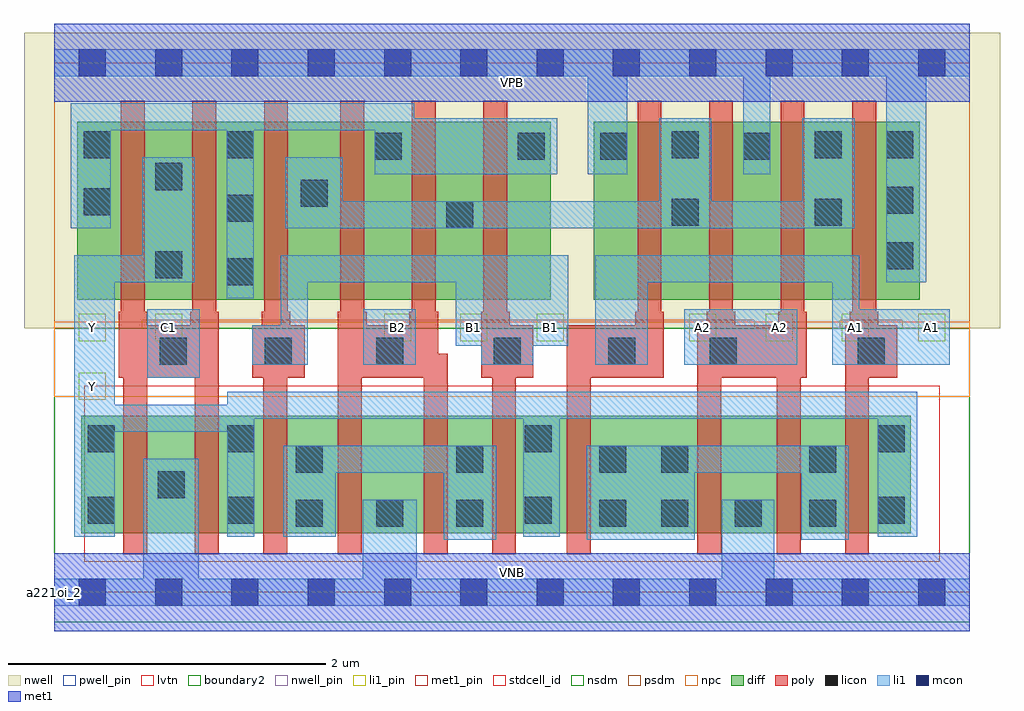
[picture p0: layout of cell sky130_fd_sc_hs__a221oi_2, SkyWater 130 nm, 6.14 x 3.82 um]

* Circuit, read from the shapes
.subckt sky130_fd_sc_hs__a221oi_2 A1 A2 B1 B2 C1 VGND VNB VPB VPWR Y
XM1 VGND C1 Y VNB sky130_fd_pr__nfet_01v8_lvt w=0.74 l=0.15 m=2
XM2 n1 B1 Y VNB sky130_fd_pr__nfet_01v8_lvt w=0.74 l=0.15 m=2
XM3 VGND B2 n1 VNB sky130_fd_pr__nfet_01v8_lvt w=0.74 l=0.15 m=2
XM4 n2 A1 Y VNB sky130_fd_pr__nfet_01v8_lvt w=0.74 l=0.15 m=2
XM5 VGND A2 n2 VNB sky130_fd_pr__nfet_01v8_lvt w=0.74 l=0.15 m=2
XM6 Y C1 n3 VPB sky130_fd_pr__pfet_01v8 w=1.12 l=0.15 m=2
XM7 n4 B1 n3 VPB sky130_fd_pr__pfet_01v8 w=1.12 l=0.15 m=2
XM8 n3 B2 n4 VPB sky130_fd_pr__pfet_01v8 w=1.12 l=0.15 m=2
XM9 n4 A1 VPWR VPB sky130_fd_pr__pfet_01v8 w=1.12 l=0.15 m=2
XM10 VPWR A2 n4 VPB sky130_fd_pr__pfet_01v8 w=1.12 l=0.15 m=2
.ends

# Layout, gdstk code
import gdstk
lib = gdstk.Library(unit=1e-6, precision=1e-09)
def R(c, l, rs):  # rectangles x0, y0, x1, y1
    for r in rs: c.add(gdstk.rectangle(r[:2], r[2:], *l))
def A(c, l, x, y, w, h, nx, ny, dx, dy):  # array of equal rectangles
    R(c, l, [(x+i*dx, y+j*dy, x+i*dx+w, y+j*dy+h) for i in range(nx) for j in range(ny)])
def P(c, l, *ps):  # polygons
    for p in ps: c.add(gdstk.Polygon(p, *l))
nwell_pin = (64, 16)
nwell = (64, 20)
diff = (65, 20)
poly = (66, 20)
licon = (66, 44)
li1_pin = (67, 16)
li1 = (67, 20)
mcon = (67, 44)
met1_pin = (68, 16)
met1 = (68, 20)
stdcell_id = (81, 4)
nsdm = (93, 44)
psdm = (94, 20)
npc = (95, 20)
pwell_pin = (122, 16)
lvtn = (125, 44)
boundary2 = (236, 0)

sky130_fd_sc_hs__a221oi_ = lib.new_cell('sky130_fd_sc_hs__a221oi_2')
R(sky130_fd_sc_hs__a221oi_, nwell_pin, [(0,3.085,5.76,3.33)])
R(sky130_fd_sc_hs__a221oi_, nwell, [(-0.19,1.66,5.95,3.52)])
R(sky130_fd_sc_hs__a221oi_, diff, [(0.17,0.37,5.39,1.11), (0.145,1.84,3.125,2.96), (3.395,1.84,5.445,2.96)])
P(sky130_fd_sc_hs__a221oi_, poly, [(5.305,1.68),(5.185,1.68),(5.185,1.765),(5.17,1.765),(5.17,3.09),(5.02,3.09),(5.02,1.765),(5.005,1.765),(5.005,1.68),(4.975,1.68),(4.975,0.24),(5.125,0.24),(5.125,1.35),(5.305,1.35)],
  [(4.735,1.765),(4.72,1.765),(4.72,3.09),(4.57,3.09),(4.57,1.765),(4.555,1.765),(4.555,1.68),(4.285,1.68),(4.285,1.765),(4.27,1.765),(4.27,3.09),(4.12,3.09),(4.12,1.765),(4.105,1.765),(4.105,1.68),(4.045,1.68),(4.045,0.24),(4.195,0.24),(4.195,1.35),(4.545,1.35),(4.545,0.24),(4.695,0.24),(4.695,1.35),(4.735,1.35)],
  [(3.835,1.765),(3.82,1.765),(3.82,3.09),(3.67,3.09),(3.67,1.765),(3.655,1.765),(3.655,1.68),(3.225,1.68),(3.225,0.24),(3.375,0.24),(3.375,1.35),(3.835,1.35)],
  [(3.015,1.68),(2.865,1.68),(2.865,1.765),(2.85,1.765),(2.85,3.09),(2.7,3.09),(2.7,1.765),(2.685,1.765),(2.685,1.35),(2.755,1.35),(2.755,0.24),(2.905,0.24),(2.905,1.35),(3.015,1.35)],
  [(2.475,1.5),(2.415,1.5),(2.415,1.765),(2.4,1.765),(2.4,3.09),(2.25,3.09),(2.25,1.765),(2.235,1.765),(2.235,1.68),(1.965,1.68),(1.965,1.765),(1.95,1.765),(1.95,3.09),(1.8,3.09),(1.8,1.765),(1.785,1.765),(1.785,0.24),(1.935,0.24),(1.935,1.35),(2.325,1.35),(2.325,0.24),(2.475,0.24)],
  [(1.575,1.68),(1.485,1.68),(1.485,1.765),(1.47,1.765),(1.47,3.09),(1.32,3.09),(1.32,1.765),(1.305,1.765),(1.305,1.68),(1.245,1.68),(1.245,1.35),(1.315,1.35),(1.315,0.24),(1.465,0.24),(1.465,1.35),(1.575,1.35)],
  [(1.035,1.765),(1.02,1.765),(1.02,3.09),(0.87,3.09),(0.87,1.765),(0.855,1.765),(0.855,1.68),(0.585,1.68),(0.585,1.765),(0.57,1.765),(0.57,3.09),(0.42,3.09),(0.42,1.765),(0.405,1.765),(0.405,1.35),(0.435,1.35),(0.435,0.24),(0.585,0.24),(0.585,1.35),(0.885,1.35),(0.885,0.24),(1.035,0.24)])
A(sky130_fd_sc_hs__a221oi_, licon, 1.52, 0.41, 0.17, 0.17, 3, 1, 0.505, 0)
A(sky130_fd_sc_hs__a221oi_, licon, 1.085, 1.93, 0.17, 0.17, 1, 3, 0, 0.4)
A(sky130_fd_sc_hs__a221oi_, licon, 5.235, 2.03, 0.17, 0.17, 1, 3, 0, 0.35)
R(sky130_fd_sc_hs__a221oi_, licon, [(3.43,0.41,3.6,0.58), (3.82,0.41,3.99,0.58), (4.28,0.41,4.45,0.58), (4.75,0.41,4.92,0.58), (0.21,0.43,0.38,0.6), (1.09,0.43,1.26,0.6), (2.96,0.43,3.13,0.6), (5.18,0.43,5.35,0.6), (0.65,0.59,0.82,0.76), (1.52,0.75,1.69,0.92), (2.53,0.75,2.7,0.92), (3.43,0.75,3.6,0.92), (3.82,0.75,3.99,0.92), (4.75,0.75,4.92,0.92), (0.21,0.88,0.38,1.05), (1.09,0.88,1.26,1.05), (2.96,0.88,3.13,1.05), (5.18,0.88,5.35,1.05), (0.665,1.43,0.835,1.6), (1.325,1.43,1.495,1.6), (2.025,1.43,2.195,1.6), (2.765,1.43,2.935,1.6), (3.485,1.43,3.655,1.6), (4.125,1.43,4.295,1.6), (5.055,1.43,5.225,1.6), (0.635,1.975,0.805,2.145), (2.465,2.29,2.635,2.46), (3.885,2.305,4.055,2.475), (4.785,2.305,4.955,2.475), (0.185,2.37,0.355,2.54), (1.55,2.425,1.72,2.595), (0.635,2.53,0.805,2.7), (2.015,2.72,2.185,2.89), (2.915,2.72,3.085,2.89), (3.435,2.72,3.605,2.89), (4.335,2.72,4.505,2.89), (0.185,2.73,0.355,2.9), (3.885,2.73,4.055,2.9), (4.785,2.73,4.955,2.9)])
A(sky130_fd_sc_hs__a221oi_, li1_pin, 2.075, 1.58, 0.17, 0.17, 3, 1, 0.48, 0)
A(sky130_fd_sc_hs__a221oi_, li1_pin, 3.995, 1.58, 0.17, 0.17, 4, 1, 0.48, 0)
R(sky130_fd_sc_hs__a221oi_, li1_pin, [(0.155,1.21,0.325,1.38), (0.155,1.58,0.325,1.75), (0.635,1.58,0.805,1.75)])
R(sky130_fd_sc_hs__a221oi_, li1, [(0.585,1.35,0.915,1.78), (1.945,1.43,2.275,1.78), (3.965,1.43,4.675,1.78)])
P(sky130_fd_sc_hs__a221oi_, li1, [(3.355,2.63),(3.355,3.245),(0,3.245),(0,3.415),(5.76,3.415),(5.76,3.245),(5.485,3.245),(5.485,1.95),(5.235,1.95),(5.235,3.245),(4.505,3.245),(4.505,2.63),(4.335,2.63),(4.335,3.245),(3.605,3.245),(3.605,2.63)],
  [(1.94,0.085),(1.94,0.58),(2.28,0.58),(2.28,0.085),(4.2,0.085),(4.2,0.58),(4.53,0.58),(4.53,0.085),(5.76,0.085),(5.76,-0.085),(0,-0.085),(0,0.085),(0.56,0.085),(0.56,0.84),(0.91,0.84),(0.91,0.085)],
  [(1.09,1.01),(0.38,1.01),(0.38,0.35),(0.125,0.35),(0.125,2.12),(0.555,2.12),(0.555,2.735),(0.885,2.735),(0.885,1.95),(0.38,1.95),(0.38,1.18),(1.09,1.18),(1.09,1.26),(5.43,1.26),(5.43,0.35),(5.18,0.35),(5.18,1.09),(3.18,1.09),(3.18,0.35),(2.95,0.35),(2.95,1.09),(1.26,1.09),(1.26,0.35),(1.09,0.35)],
  [(1.425,2.12),(3.235,2.12),(3.235,1.55),(3.015,1.55),(3.015,1.43),(2.685,1.43),(2.685,1.55),(2.525,1.55),(2.525,1.95),(1.595,1.95),(1.595,1.43),(1.245,1.43),(1.245,1.68),(1.425,1.68)],
  [(4.895,1.43),(4.895,1.95),(3.735,1.95),(3.735,1.43),(3.405,1.43),(3.405,2.12),(5.065,2.12),(5.065,1.78),(5.635,1.78),(5.635,1.43)],
  [(1.085,1.85),(1.085,2.905),(0.355,2.905),(0.355,2.29),(0.105,2.29),(0.105,3.075),(2.265,3.075),(2.265,2.98),(3.165,2.98),(3.165,2.63),(2.015,2.63),(2.015,2.905),(1.255,2.905),(1.255,1.85)],
  [(1.455,2.29),(1.455,2.735),(1.815,2.735),(1.815,2.46),(3.805,2.46),(3.805,2.98),(4.135,2.98),(4.135,2.46),(4.705,2.46),(4.705,2.98),(5.035,2.98),(5.035,2.29)],
  [(2.45,0.33),(2.45,0.75),(1.77,0.75),(1.77,0.35),(1.44,0.35),(1.44,0.92),(2.78,0.92),(2.78,0.33)],
  [(5,0.92),(3.35,0.92),(3.35,0.33),(4.03,0.33),(4.03,0.75),(4.7,0.75),(4.7,0.33),(5,0.33)])
A(sky130_fd_sc_hs__a221oi_, mcon, 0.155, -0.085, 0.17, 0.17, 12, 2, 0.48, 3.33)
R(sky130_fd_sc_hs__a221oi_, met1_pin, [(0,0,5.76,0.245), (0,3.085,5.76,3.33)])
R(sky130_fd_sc_hs__a221oi_, met1, [(0,-0.245,5.76,0.245), (0,3.085,5.76,3.575)])
R(sky130_fd_sc_hs__a221oi_, stdcell_id, [(0,0,5.76,3.33)])
R(sky130_fd_sc_hs__a221oi_, nsdm, [(0,-0.19,5.76,1.66)])
P(sky130_fd_sc_hs__a221oi_, psdm, [(5.76,3.52),(0,3.52),(0,1.66),(0.555,1.66),(0.555,1.71),(4.405,1.71),(4.405,1.66),(4.945,1.66),(4.945,1.71),(5.335,1.71),(5.335,1.66),(5.76,1.66)])
R(sky130_fd_sc_hs__a221oi_, npc, [(0,1.23,5.76,1.7)])
R(sky130_fd_sc_hs__a221oi_, pwell_pin, [(0,0,5.76,0.245)])
R(sky130_fd_sc_hs__a221oi_, lvtn, [(0.19,0.19,5.57,1.3)])
R(sky130_fd_sc_hs__a221oi_, boundary2, [(0,0,5.76,3.33)])
sky130_fd_sc_hs__a221oi_.add(gdstk.Label('a221oi_2', (0,0), layer=83, texttype=44))
sky130_fd_sc_hs__a221oi_.add(gdstk.Label('VNB', (2.88,0.123), layer=64, texttype=59))
sky130_fd_sc_hs__a221oi_.add(gdstk.Label('VPB', (2.88,3.208), layer=64, texttype=5))
sky130_fd_sc_hs__a221oi_.add(gdstk.Label('VPWR', (2.88,3.208), layer=68, texttype=5))
sky130_fd_sc_hs__a221oi_.add(gdstk.Label('VGND', (2.88,0.123), layer=68, texttype=5))
sky130_fd_sc_hs__a221oi_.add(gdstk.Label('Y', (0.24,1.295), layer=67, texttype=5))
sky130_fd_sc_hs__a221oi_.add(gdstk.Label('Y', (0.24,1.665), layer=67, texttype=5))
sky130_fd_sc_hs__a221oi_.add(gdstk.Label('B2', (2.16,1.665), layer=67, texttype=5))
sky130_fd_sc_hs__a221oi_.add(gdstk.Label('B1', (2.64,1.665), layer=67, texttype=5))
sky130_fd_sc_hs__a221oi_.add(gdstk.Label('B1', (3.12,1.665), layer=67, texttype=5))
sky130_fd_sc_hs__a221oi_.add(gdstk.Label('A2', (4.08,1.665), layer=67, texttype=5))
sky130_fd_sc_hs__a221oi_.add(gdstk.Label('A2', (4.56,1.665), layer=67, texttype=5))
sky130_fd_sc_hs__a221oi_.add(gdstk.Label('A1', (5.04,1.665), layer=67, texttype=5))
sky130_fd_sc_hs__a221oi_.add(gdstk.Label('A1', (5.52,1.665), layer=67, texttype=5))
sky130_fd_sc_hs__a221oi_.add(gdstk.Label('C1', (0.72,1.665), layer=67, texttype=5))

lib.write_gds('sky130_fd_sc_hs__a221oi_2.gds')
